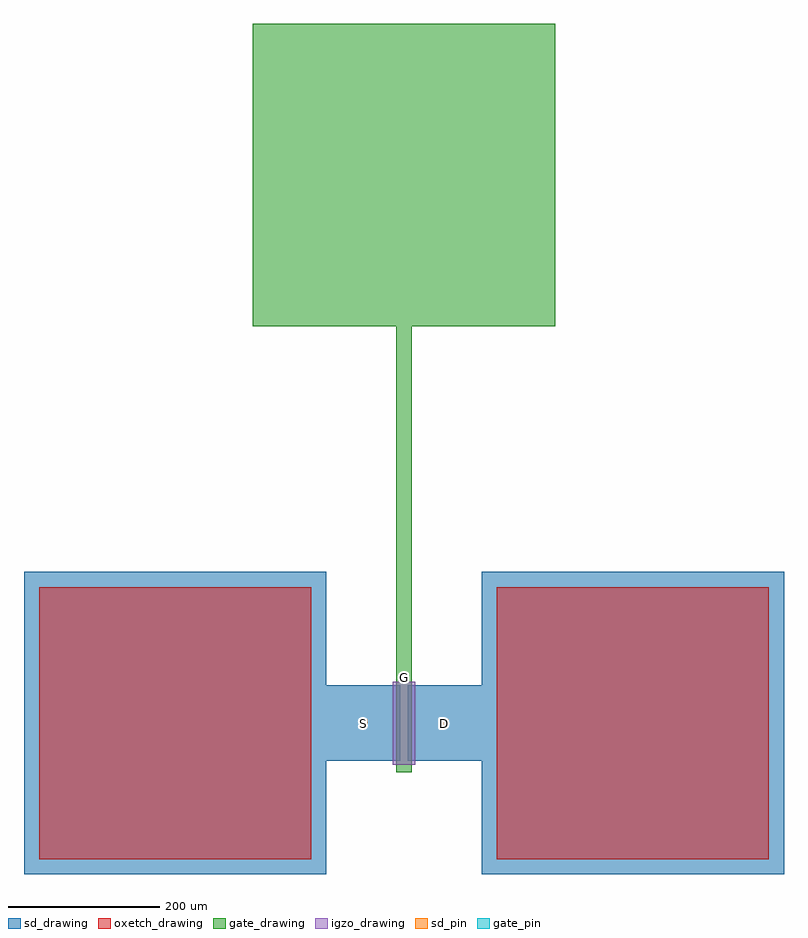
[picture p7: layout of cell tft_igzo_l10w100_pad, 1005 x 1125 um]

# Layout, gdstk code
import gdstk
lib = gdstk.Library(unit=1e-6, precision=1e-09)
def R(c, l, rs):  # rectangles x0, y0, x1, y1
    for r in rs: c.add(gdstk.rectangle(r[:2], r[2:], *l))
gate_drawing = (2, 0)
gate_pin = (2, 10)
igzo_drawing = (4, 0)
oxetch_drawing = (5, 0)
sd_drawing = (6, 0)
sd_pin = (6, 10)

tft_igzo_l10w100_pad = lib.new_cell('tft_igzo_l10w100_pad')
R(tft_igzo_l10w100_pad, gate_drawing, [(-10,-65,10,65), (-10,65,10,525), (-200,525,200,925)])
R(tft_igzo_l10w100_pad, gate_pin, [(-4.88,55.12,4.88,64.88)])
R(tft_igzo_l10w100_pad, igzo_drawing, [(-15,-55,15,55)])
R(tft_igzo_l10w100_pad, oxetch_drawing, [(-482.5,-180,-122.5,180), (122.5,-180,482.5,180)])
R(tft_igzo_l10w100_pad, sd_drawing, [(-502.5,-200,-102.5,200), (102.5,-200,502.5,200), (-102.5,-50,-5,50), (5,-50,102.5,50)])
R(tft_igzo_l10w100_pad, sd_pin, [(-58.63,-4.88,-48.87,4.88), (48.87,-4.88,58.63,4.88)])
tft_igzo_l10w100_pad.add(gdstk.Label('S', (-53.75,0), layer=6, texttype=10))
tft_igzo_l10w100_pad.add(gdstk.Label('D', (53.75,0), layer=6, texttype=10))
tft_igzo_l10w100_pad.add(gdstk.Label('G', (0,60), layer=2, texttype=10))

lib.write_gds('tft_igzo_l10w100_pad.gds')
